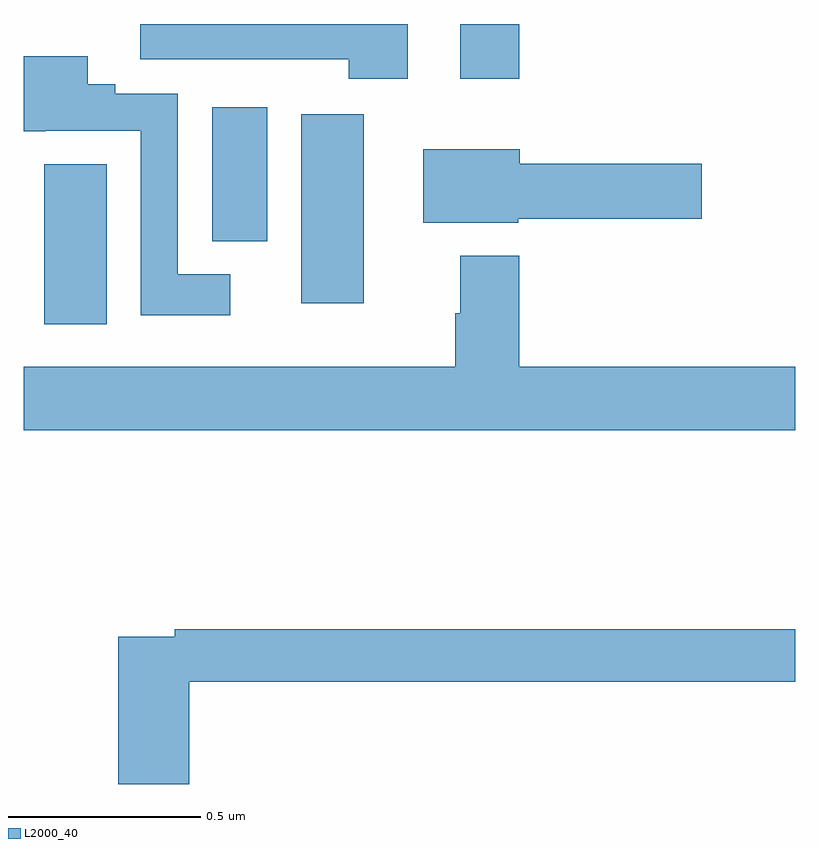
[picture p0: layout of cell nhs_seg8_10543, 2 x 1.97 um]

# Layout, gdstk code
import gdstk
lib = gdstk.Library(unit=1e-6, precision=1e-09)
def R(c, l, rs):  # rectangles x0, y0, x1, y1
    for r in rs: c.add(gdstk.rectangle(r[:2], r[2:], *l))
def P(c, l, *ps):  # polygons
    for p in ps: c.add(gdstk.Polygon(p, *l))
L2000_40 = (2000, 40)

nhs_seg8_10543 = lib.new_cell('nhs_seg8_10543')
R(nhs_seg8_10543, L2000_40, [(251.054,1102.122,251.215,1102.537), (251.72,1102.176,251.881,1102.666), (251.489,1102.337,251.632,1102.684), (252.131,1102.758,252.284,1102.9)])
P(nhs_seg8_10543, L2000_40, [(251.995,1102.9),(251.303,1102.9),(251.303,1102.809),(251.843,1102.809),(251.843,1102.758),(251.995,1102.758)],
  [(251.536,1102.252),(251.4,1102.252),(251.4,1102.719),(251.238,1102.719),(251.238,1102.744),(251.167,1102.744),(251.167,1102.816),(251,1102.816),(251,1102.622),(251.058,1102.622),(251.058,1102.623),(251.304,1102.623),(251.304,1102.145),(251.536,1102.145)],
  [(252.282,1102.396),(252.757,1102.396),(252.757,1102.538),(252.286,1102.538),(252.286,1102.576),(252.035,1102.576),(252.035,1102.385),(252.282,1102.385)],
  [(253,1102.012),(252.284,1102.012),(252.284,1102.3),(252.131,1102.3),(252.131,1102.151),(252.119,1102.151),(252.119,1102.012),(251,1102.012),(251,1101.848),(253,1101.848)],
  [(251.429,1101.196),(253,1101.196),(253,1101.332),(251.392,1101.332),(251.392,1101.312),(251.246,1101.312),(251.246,1100.931),(251.429,1100.931)])

lib.write_gds('nhs_seg8_10543.gds')
